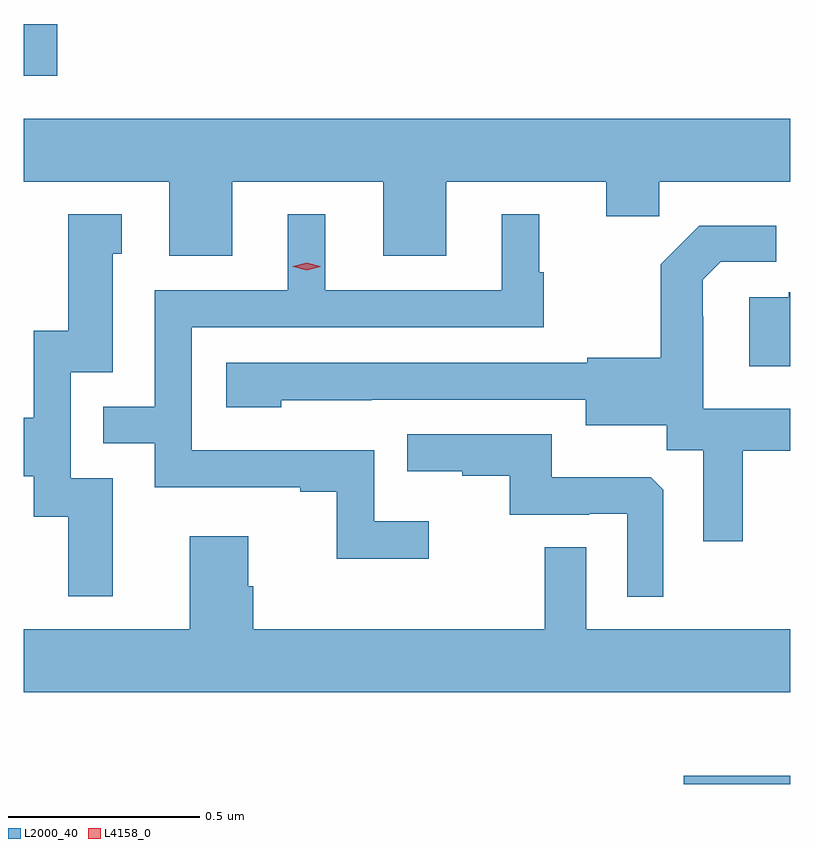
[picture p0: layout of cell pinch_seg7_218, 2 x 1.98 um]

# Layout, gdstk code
import gdstk
lib = gdstk.Library(unit=1e-6, precision=1e-09)
def R(c, l, rs):  # rectangles x0, y0, x1, y1
    for r in rs: c.add(gdstk.rectangle(r[:2], r[2:], *l))
def P(c, l, *ps):  # polygons
    for p in ps: c.add(gdstk.Polygon(p, *l))
L2000_40 = (2000, 40)
L4158_0 = (4158, 0)

pinch_seg7_218 = lib.new_cell('pinch_seg7_218')
R(pinch_seg7_218, L2000_40, [(746.565,1040.337,746.843,1040.358), (744.843,1042.184,744.931,1042.319)])
P(pinch_seg7_218, L2000_40, [(745.387,1041.908),(745.781,1041.908),(745.781,1041.714),(745.945,1041.714),(745.945,1041.908),(746.363,1041.908),(746.363,1041.818),(746.501,1041.818),(746.501,1041.908),(746.843,1041.908),(746.843,1042.072),(744.843,1042.072),(744.843,1041.908),(745.223,1041.908),(745.223,1041.714),(745.387,1041.714)],
  [(745.075,1041.135),(744.966,1041.135),(744.966,1041.411),(745.075,1041.411),(745.075,1041.72),(745.099,1041.72),(745.099,1041.823),(744.959,1041.823),(744.959,1041.519),(744.87,1041.519),(744.87,1041.292),(744.843,1041.292),(744.843,1041.14),(744.869,1041.14),(744.869,1041.034),(744.959,1041.034),(744.959,1040.826),(745.075,1040.826)],
  [(745.9,1041.022),(745.758,1041.022),(745.758,1041.207),(745.281,1041.207),(745.281,1041.528),(746.2,1041.528),(746.2,1041.672),(746.188,1041.672),(746.188,1041.823),(746.09,1041.823),(746.09,1041.624),(745.63,1041.624),(745.63,1041.823),(745.532,1041.823),(745.532,1041.624),(745.185,1041.624),(745.185,1041.321),(745.051,1041.321),(745.051,1041.225),(745.185,1041.225),(745.185,1041.111),(745.565,1041.111),(745.565,1041.099),(745.66,1041.099),(745.66,1040.924),(745.9,1040.924)],
  [(746.719,1041.206),(746.843,1041.206),(746.843,1041.316),(746.616,1041.316),(746.616,1041.557),(746.614,1041.557),(746.614,1041.652),(746.661,1041.699),(746.806,1041.699),(746.806,1041.793),(746.605,1041.793),(746.505,1041.693),(746.505,1041.448),(746.313,1041.448),(746.313,1041.435),(745.371,1041.435),(745.371,1041.32),(745.515,1041.32),(745.515,1041.338),(745.751,1041.338),(745.751,1041.339),(746.309,1041.339),(746.309,1041.272),(746.52,1041.272),(746.52,1041.208),(746.615,1041.208),(746.615,1040.97),(746.719,1040.97)],
  [(746.843,1041.619),(746.839,1041.619),(746.839,1041.606),(746.735,1041.606),(746.735,1041.426),(746.843,1041.426)],
  [(746.511,1041.105),(746.479,1041.137),(746.221,1041.137),(746.221,1041.249),(745.843,1041.249),(745.843,1041.152),(745.987,1041.152),(745.987,1041.141),(746.111,1041.141),(746.111,1041.039),(746.318,1041.039),(746.318,1041.042),(746.418,1041.042),(746.418,1040.825),(746.511,1040.825)],
  [(746.843,1040.74),(746.31,1040.74),(746.31,1040.954),(746.202,1040.954),(746.202,1040.74),(745.442,1040.74),(745.442,1040.853),(745.429,1040.853),(745.429,1040.983),(745.277,1040.983),(745.277,1040.74),(744.843,1040.74),(744.843,1040.576),(746.843,1040.576)])
P(pinch_seg7_218, L4158_0, [(745.581,1041.677),(745.546,1041.686),(745.545,1041.687),(745.546,1041.687),(745.581,1041.697),(745.617,1041.687),(745.617,1041.687),(745.617,1041.686)])

lib.write_gds('pinch_seg7_218.gds')
